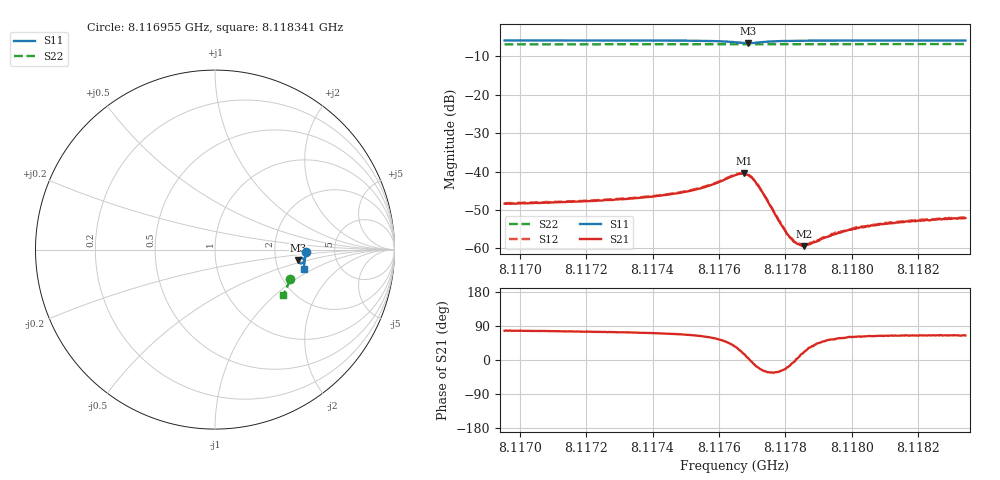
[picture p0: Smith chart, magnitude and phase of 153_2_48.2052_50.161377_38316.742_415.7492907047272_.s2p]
#  HZ  S  RI  R  50.00
! Rohde & Schwarz Vector Network Analyzer
! Rohde-Schwarz,ZNB20-2Port,1311601062101988,3.16
! Created: UTC 3/20/2024, 11:42:54 AM
! freq[Hz]  re:S11  im:S11  re:S21  im:S21  re:S12  im:S12  re:S22  im:S22
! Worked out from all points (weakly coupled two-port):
!   401 points, 8.116955 GHz to 8.118341 GHz, reference 50 ohm
!   highest |S21| = -40.50 dB at 8.117676 GHz (marker M1); lowest = -59.4 dB at 8.117856 GHz (marker M2)
!   lowest |S11| = -6.6 dB at 8.117686 GHz (marker M3), VSWR 2.75, Z = 134 - j20.7 ohm
!   |S11| at or under -10 dB: nowhere
!   |S22| runs from -6.9 to -6.8 dB; largest |S21 - S12| = 0.00032
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8.116955e9  0.5061 -0.0134  0.000847 0.00373  0.000896 0.00376  0.4187 -0.1665
8.1171872e9  0.5046 -0.032  0.00108 0.00395  0.00111 0.00399  0.4132 -0.1815
8.1173189e9  0.5033 -0.0432  0.00129 0.00421  0.00135 0.0043  0.4097 -0.1902
8.1174194e9  0.5016 -0.0523  0.00165 0.00456  0.00169 0.00458  0.4068 -0.1967
8.1174853e9  0.4998 -0.0592  0.00202 0.00492  0.00209 0.00501  0.4049 -0.201
8.1175477e9  0.4962 -0.0667  0.00278 0.00542  0.00283 0.00551  0.403 -0.2051
8.1176482e9  0.4745 -0.0763  0.00731 0.0052  0.00748 0.00524  0.399 -0.2113
8.1176759e9  0.4643 -0.0665  0.00909 0.00252  0.00924 0.00236  0.3979 -0.2123
8.1176863e9  0.4633 -0.0602  0.009 0.000982  0.00919 0.000751  0.3976 -0.2127
8.1177037e9  0.4675 -0.0505  0.00778 -0.00134  0.00785 -0.00139  0.3974 -0.2132
8.1177245e9  0.4772 -0.0455  0.00539 -0.0024  0.00545 -0.00249  0.3974 -0.2144
8.1177834e9  0.4937 -0.0533  0.00188 -0.00109  0.00193 -0.00115  0.3963 -0.2185
8.1178077e9  0.4961 -0.0576  0.00143 -0.000487  0.00143 -0.000463  0.3956 -0.2203
8.1178319e9  0.4974 -0.0615  0.00119 3.55e-05  0.00117 -1e-05  0.3948 -0.2219
8.1178493e9  0.4979 -0.0639  0.00103 0.000303  0.00108 0.000268  0.3943 -0.2231
8.1178562e9  0.498 -0.065  0.000997 0.00039  0.00105 0.000374  0.3941 -0.2234
8.1178805e9  0.4983 -0.068  0.000943 0.000712  0.00096 0.000704  0.3934 -0.225
8.1179428e9  0.4984 -0.0749  0.000885 0.00122  0.000885 0.00126  0.3912 -0.229
8.1180087e9  0.498 -0.0814  0.000868 0.00157  0.00091 0.00163  0.3892 -0.2331
8.1181127e9  0.4966 -0.0904  0.000925 0.00192  0.000965 0.00195  0.3856 -0.2396
8.1182132e9  0.4952 -0.0986  0.000971 0.00208  0.00101 0.00212  0.3821 -0.2457
8.1183415e9  0.4931 -0.1087  0.00106 0.00225  0.00108 0.00225  0.3775 -0.2534
